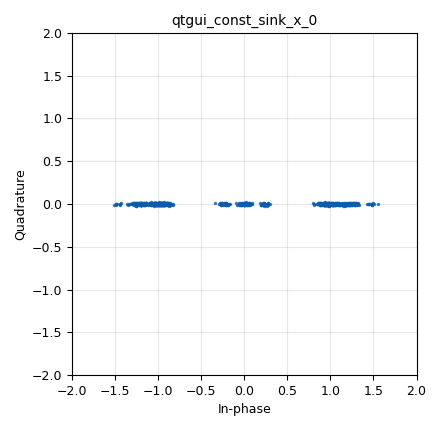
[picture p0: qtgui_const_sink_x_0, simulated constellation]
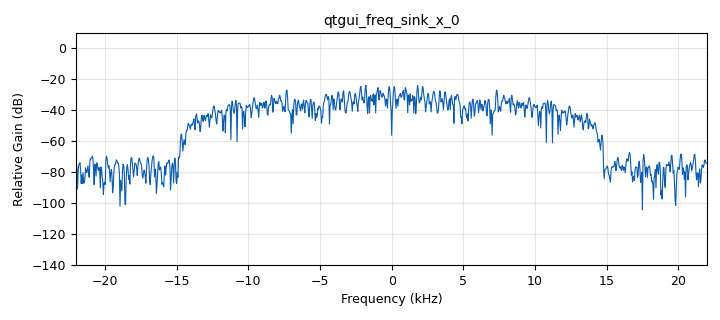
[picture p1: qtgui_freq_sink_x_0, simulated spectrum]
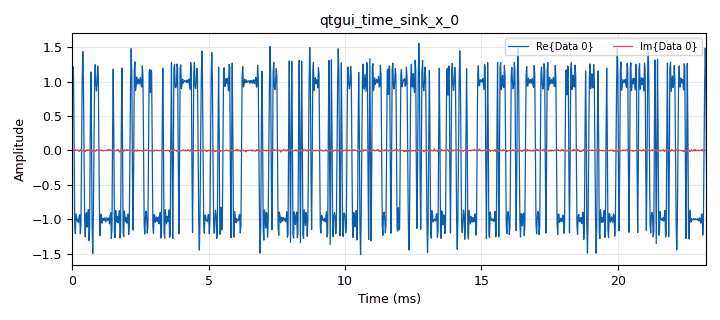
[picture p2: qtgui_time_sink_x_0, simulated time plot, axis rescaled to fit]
options:
  parameters:
    category: Custom
    generate_options: qt_gui
    id: top_block
    output_language: python
  states: {}

blocks:
- name: N_constellations
  id: variable
  parameters:
    value: '2'
  states: {}
- name: chan_atten
  id: variable_qtgui_range
  parameters:
    label: Channel Gain/Loss Ratio
    orient: Qt.Horizontal
    start: '0'
    step: '0.01'
    stop: '2.0'
    value: '1.0'
  states: {}
- name: noise_level
  id: variable_qtgui_range
  parameters:
    label: noise_level_gui_range
    orient: Qt.Horizontal
    start: '0'
    step: '0.05'
    stop: '0.5'
    value: '0.01'
  states: {}
- name: samp_rate
  id: variable
  parameters:
    value: '44000'
  states: {}
- name: analog_noise_source_x_0
  id: analog_noise_source_x
  parameters:
    amp: noise_level
    noise_type: analog.GR_GAUSSIAN
    seed: '0'
    type: complex
  states: {}
- name: analog_random_source_x_0
  id: analog_random_source_x
  parameters:
    max: '31'
    min: '0'
    num_samps: '1000'
    repeat: 'True'
    type: byte
  states: {}
- name: blocks_add_xx_0
  id: blocks_add_xx
  parameters:
    type: complex
  states: {}
- name: blocks_file_sink_0
  id: blocks_file_sink
  parameters:
    file: rx_dat.txt
    type: byte
  states: {}
- name: blocks_file_sink_1
  id: blocks_file_sink
  parameters:
    file: sent_data.txt
    type: byte
  states: {}
- name: blocks_multiply_const_vxx_0
  id: blocks_multiply_const_vxx
  parameters:
    const: chan_atten
    type: complex
  states: {}
- name: blocks_pack_k_bits_bb_0
  id: blocks_pack_k_bits_bb
  parameters:
    k: '8'
  states: {}
- name: blocks_throttle_0
  id: blocks_throttle
  parameters:
    samples_per_second: samp_rate
    type: byte
  states: {}
- name: chan_atten
  id: variable_slider
  parameters:
    converver: float_converter
    label: Channel Loss Ratio
    max: '1'
    min: '0'
    num_steps: '100'
    style: wx.SL_HORIZONTAL
    value: '1'
  states: {state: disabled}
- name: digital_psk_demod_0
  id: digital_psk_demod
  parameters:
    constellation_points: N_constellations
    differential: 'True'
    excess_bw: '0.35'
    freq_bw: 6.28/100.0
    mod_code: '"gray"'
    phase_bw: 6.28/100.0
    samples_per_symbol: '2'
    timing_bw: 6.28/100.0
  states: {}
- name: digital_psk_mod_0
  id: digital_psk_mod
  parameters:
    constellation_points: N_constellations
    differential: 'True'
    excess_bw: '0.35'
    mod_code: '"gray"'
    samples_per_symbol: '2'
  states: {}
- name: noise_level
  id: variable_slider
  parameters:
    converver: float_converter
    label: Noise Level (1=max signal)
    max: '0.5'
    min: '0'
    num_steps: '100'
    style: wx.SL_HORIZONTAL
    value: '0'
  states: {state: disabled}
- name: notebook_0
  id: notebook
  parameters:
    labels: '[''tab1'', ''tab2'', ''tab3'']'
    style: wx.NB_TOP
  states: {state: disabled}
- name: qtgui_const_sink_x_0
  id: qtgui_const_sink_x
  parameters:
    gui_hint: tab@2
    size: '1024'
    type: complex
  states: {}
- name: qtgui_freq_sink_x_0
  id: qtgui_freq_sink_x
  parameters:
    bw: samp_rate
    fc: '0'
    fftsize: '1024'
    gui_hint: tab@1
    showports: 'True'
    type: complex
    wintype: firdes.WIN_BLACKMAN_hARRIS
  states: {}
- name: qtgui_time_sink_x_0
  id: qtgui_time_sink_x
  parameters:
    gui_hint: tab@0
    label1: ''
    label2: ''
    size: '1024'
    srate: samp_rate
    type: complex
  states: {}
- name: tab
  id: qtgui_tab_widget
  parameters:
    label0: Complex Wave Form
    label1: FFT Plot
    label2: Constelations Plot
    num_tabs: '3'
  states: {}
- name: wxgui_constellationsink2_0
  id: wxgui_constellationsink2
  parameters:
    M: '2'
    const_size: '2048'
    fmax: '0.06'
    frame_rate: '5'
    gain_mu: '0.005'
    loop_bw: 6.28/100.0
    mu: '0.5'
    notebook: notebook_0,2
    omega_limit: '0.005'
    samp_rate: samp_rate
    symbol_rate: samp_rate/2
    theta: '0'
    title: Constellation Plot
  states: {state: disabled}
- name: wxgui_fftsink2_0
  id: wxgui_fftsink2
  parameters:
    average: 'False'
    avg_alpha: '0'
    baseband_freq: '0'
    fft_rate: '15'
    fft_size: '1024'
    freqvar: None
    notebook: notebook_0,1
    peak_hold: 'False'
    ref_level: '0'
    ref_scale: '2.0'
    samp_rate: samp_rate
    title: FFT Plot
    type: complex
    win: None
    y_divs: '10'
    y_per_div: '10'
  states: {state: disabled}
- name: wxgui_scopesink2_0
  id: wxgui_scopesink2
  parameters:
    ac_couple: 'False'
    notebook: notebook_0,0
    num_inputs: '1'
    samp_rate: samp_rate
    t_scale: '0'
    title: Complex Wave Form
    trig_mode: wxgui.TRIG_MODE_AUTO
    type: complex
    v_offset: '0'
    v_scale: '0'
    xy_mode: 'False'
    y_axis_label: Counts
  states: {state: disabled}

connections:
- [analog_noise_source_x_0, '0', blocks_add_xx_0, '1']
- [analog_random_source_x_0, '0', blocks_throttle_0, '0']
- [blocks_add_xx_0, '0', digital_psk_demod_0, '0']
- [blocks_add_xx_0, '0', qtgui_const_sink_x_0, '0']
- [blocks_add_xx_0, '0', qtgui_freq_sink_x_0, '0']
- [blocks_add_xx_0, '0', qtgui_time_sink_x_0, '0']
- [blocks_add_xx_0, '0', wxgui_constellationsink2_0, '0']
- [blocks_add_xx_0, '0', wxgui_fftsink2_0, '0']
- [blocks_add_xx_0, '0', wxgui_scopesink2_0, '0']
- [blocks_multiply_const_vxx_0, '0', blocks_add_xx_0, '0']
- [blocks_pack_k_bits_bb_0, '0', blocks_file_sink_0, '0']
- [blocks_throttle_0, '0', blocks_file_sink_1, '0']
- [blocks_throttle_0, '0', digital_psk_mod_0, '0']
- [digital_psk_demod_0, '0', blocks_pack_k_bits_bb_0, '0']
- [digital_psk_mod_0, '0', blocks_multiply_const_vxx_0, '0']

metadata:
  file_format: 1
